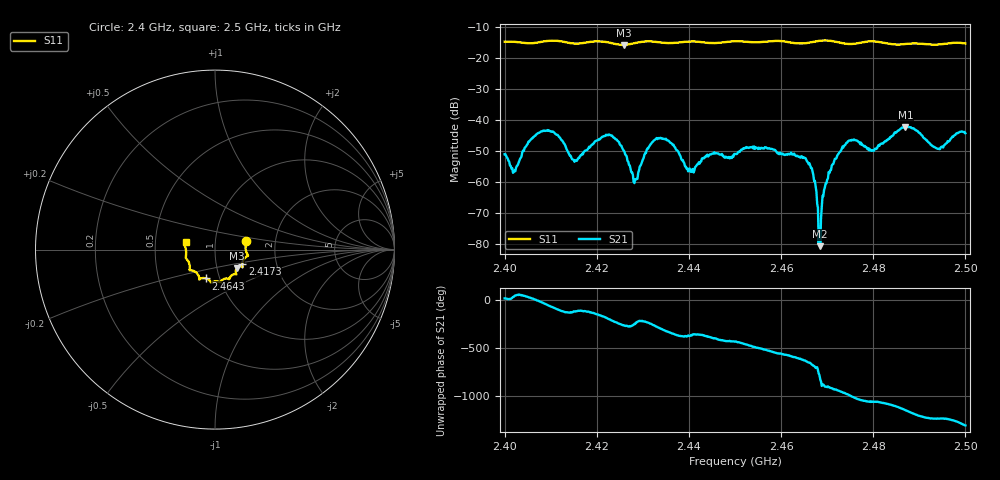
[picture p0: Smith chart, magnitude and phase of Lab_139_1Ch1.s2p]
# Hz S RI R 50
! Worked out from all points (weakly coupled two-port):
!   601 points, 2.4 GHz to 2.5 GHz, reference 50 ohm
!   highest |S21| = -42.36 dB at 2.487 GHz (marker M1); lowest = -80.8 dB at 2.4685 GHz (marker M2)
!   lowest |S11| = -15.9 dB at 2.4258 GHz (marker M3), VSWR 1.38, Z = 62.3 - j13.2 ohm
!   |S11| at or under -10 dB: start of sweep to end of sweep
!   S12 and S22 are empty: the file has one direction only
!   S11 on the Smith chart (normalised r, x): 2.4 GHz: 1.41, +0.14; 2.4173 GHz: 1.34, -0.23; 2.4643 GHz: 0.86, -0.28; 2.5 GHz: 0.72, +0.06
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2.4e9  0.1733 0.0495  0.00266 0.000751  0 0  0 0
2.402333e9  0.1743 0.0395  0.00101 0.00107  0 0  0 0
2.405333e9  0.1697 0.00921  0.00401 0.00186  0 0  0 0
2.409167e9  0.1824 -0.029  0.00429 -0.00513  0 0  0 0
2.415e9  0.1588 -0.056  -0.00112 -0.00194  0 0  0 0
2.416667e9  0.1526 -0.0749  -0.00112 -0.00243  0 0  0 0
2.417333e9  0.152 -0.0823  -0.00139 -0.00275  0 0  0 0
2.4225e9  0.1486 -0.0934  -0.00526 0.00187  0 0  0 0
2.425833e9  0.1217 -0.1036  -0.000327 0.00317  0 0  0 0
2.428333e9  0.1156 -0.1266  -0.000324 0.00104  0 0  0 0
2.433333e9  0.1127 -0.1366  0.00154 0.00474  0 0  0 0
2.44e9  0.08 -0.1631  0.00153 -0.000497  0 0  0 0
2.45e9  0.0295 -0.1808  0.000636 -0.00273  0 0  0 0
2.464333e9  -0.0503 -0.1604  -0.000441 0.0025  0 0  0 0
2.466667e9  -0.0763 -0.1598  0.0012 0.00113  0 0  0 0
2.4685e9  -0.0864 -0.1656  -3.36e-05 -8.46e-05  0 0  0 0
2.470167e9  -0.0875 -0.1661  -0.00112 9.73e-05  0 0  0 0
2.473667e9  -0.0952 -0.1392  -0.00125 0.00357  0 0  0 0
2.483333e9  -0.1409 -0.0897  0.00482 -0.000821  0 0  0 0
2.487e9  -0.1556 -0.0562  0.00219 -0.0073  0 0  0 0
2.494e9  -0.1617 -0.00105  -0.00316 -0.00118  0 0  0 0
2.5e9  -0.1633 0.042  -0.00364 0.0048  0 0  0 0
